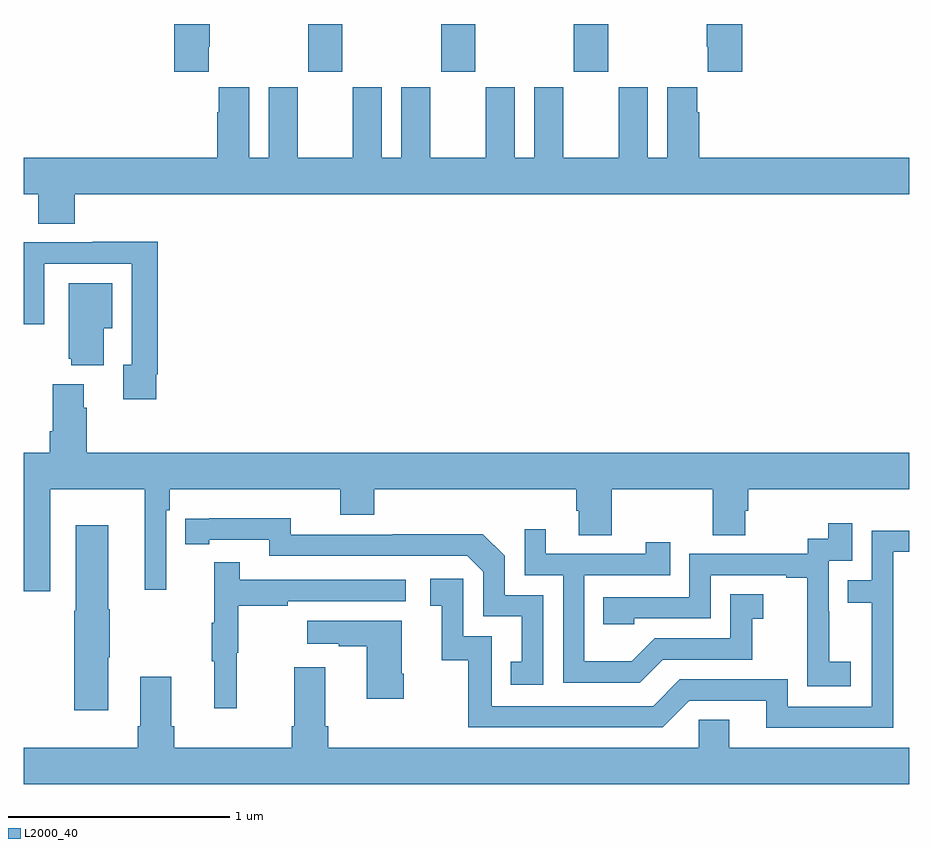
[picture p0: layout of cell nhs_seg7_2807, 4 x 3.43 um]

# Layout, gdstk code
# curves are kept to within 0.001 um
import gdstk
lib = gdstk.Library(unit=1e-6, precision=1e-09)
def R(c, l, rs):  # rectangles x0, y0, x1, y1
    for r in rs: c.add(gdstk.rectangle(r[:2], r[2:], *l))
def A(c, l, x, y, w, h, nx, ny, dx, dy):  # array of equal rectangles
    R(c, l, [(x+i*dx, y+j*dy, x+i*dx+w, y+j*dy+h) for i in range(nx) for j in range(ny)])
def P(c, l, *ps):  # polygons
    for p in ps: c.add(gdstk.Polygon(p, *l))
L2000_40 = (2000, 40)

nhs_seg7_2807 = lib.new_cell('nhs_seg7_2807')
A(nhs_seg7_2807, L2000_40, 292.285, 1051.785, 0.155, 0.215, 3, 1, 0.6, 0)
P(nhs_seg7_2807, L2000_40, [(294.245,1052),(294.085,1052),(294.085,1051.897),(294.089,1051.897),(294.089,1051.785),(294.245,1051.785)],
  [(291.835,1051.897),(291.84,1051.897),(291.84,1052),(291.68,1052),(291.68,1051.785),(291.835,1051.785)],
  [(291.23,1051.232),(295,1051.232),(295,1051.396),(294.05,1051.396),(294.05,1051.601),(294.043,1051.601),(294.043,1051.714),(293.906,1051.714),(293.906,1051.396),(293.818,1051.396),(293.818,1051.714),(293.687,1051.714),(293.687,1051.396),(293.437,1051.396),(293.437,1051.714),(293.306,1051.714),(293.306,1051.396),(293.218,1051.396),(293.218,1051.714),(293.087,1051.714),(293.087,1051.396),(292.837,1051.396),(292.837,1051.714),(292.706,1051.714),(292.706,1051.396),(292.618,1051.396),(292.618,1051.714),(292.487,1051.714),(292.487,1051.396),(292.237,1051.396),(292.237,1051.714),(292.106,1051.714),(292.106,1051.396),(292.018,1051.396),(292.018,1051.714),(291.881,1051.714),(291.881,1051.601),(291.875,1051.601),(291.875,1051.396),(291,1051.396),(291,1051.232),(291.065,1051.232),(291.065,1051.099),(291.23,1051.099)],
  [(291.598,1050.418),(291.605,1050.418),(291.605,1051.016),(291.313,1051.016),(291.313,1051.014),(291,1051.014),(291,1050.645),(291.093,1050.645),(291.093,1050.918),(291.489,1050.918),(291.489,1050.462),(291.449,1050.462),(291.449,1050.306),(291.598,1050.306)],
  [(291.361,1050.626),(291.4,1050.626),(291.4,1050.829),(291.203,1050.829),(291.203,1050.489),(291.215,1050.489),(291.215,1050.458),(291.361,1050.458)],
  [(291.121,1049.9),(291.548,1049.9),(291.548,1049.445),(291.645,1049.445),(291.645,1049.804),(291.659,1049.804),(291.659,1049.9),(292.43,1049.9),(292.43,1049.783),(292.583,1049.783),(292.583,1049.9),(293.495,1049.9),(293.495,1049.802),(293.507,1049.802),(293.507,1049.692),(293.655,1049.692),(293.655,1049.9),(294.112,1049.9),(294.112,1049.692),(294.259,1049.692),(294.259,1049.802),(294.272,1049.802),(294.272,1049.9),(295,1049.9),(295,1050.064),(291.284,1050.064),(291.284,1050.266),(291.271,1050.266),(291.271,1050.373),(291.131,1050.373),(291.131,1050.16),(291.119,1050.16),(291.119,1050.064),(291,1050.064),(291,1049.439),(291.121,1049.439)],
  [(293.346,1049.421),(293.172,1049.421),(293.172,1049.598),(293.074,1049.696),(292.666,1049.696),(292.666,1049.694),(292.206,1049.694),(292.206,1049.767),(291.73,1049.766),(291.73,1049.65),(291.838,1049.65),(291.838,1049.67),(292.11,1049.67),(292.11,1049.598),(293.004,1049.598),(293.076,1049.526),(293.076,1049.325),(293.249,1049.325),(293.249,1049.121),(293.2,1049.121),(293.2,1049.016),(293.346,1049.016)],
  [(294.736,1049.119),(294.638,1049.119),(294.638,1049.348),(294.636,1049.348),(294.636,1049.577),(294.741,1049.577),(294.741,1049.746),(294.633,1049.746),(294.633,1049.676),(294.54,1049.676),(294.54,1049.607),(294.006,1049.607),(294.006,1049.412),(293.617,1049.412),(293.617,1049.289),(293.757,1049.289),(293.757,1049.316),(294.102,1049.316),(294.102,1049.511),(294.443,1049.511),(294.443,1049.499),(294.539,1049.499),(294.539,1049.215),(294.538,1049.215),(294.538,1049.009),(294.736,1049.009)],
  [(291.382,1049.14),(291.39,1049.14),(291.39,1049.357),(291.382,1049.357),(291.382,1049.737),(291.236,1049.737),(291.236,1049.351),(291.229,1049.351),(291.229,1048.902),(291.382,1048.902)],
  [(293.887,1049.13),(294.291,1049.13),(294.291,1049.315),(294.34,1049.315),(294.34,1049.425),(294.192,1049.425),(294.192,1049.226),(293.85,1049.226),(293.746,1049.122),(293.532,1049.122),(293.532,1049.511),(293.921,1049.511),(293.921,1049.659),(293.81,1049.659),(293.81,1049.607),(293.359,1049.607),(293.359,1049.719),(293.262,1049.719),(293.262,1049.511),(293.436,1049.511),(293.436,1049.025),(293.782,1049.025)],
  [(294.927,1049.616),(295,1049.616),(295,1049.712),(294.831,1049.712),(294.831,1049.487),(294.721,1049.487),(294.721,1049.386),(294.831,1049.386),(294.831,1048.917),(294.45,1048.917),(294.45,1049.04),(293.964,1049.04),(293.844,1048.92),(293.115,1048.92),(293.115,1049.235),(292.986,1049.235),(292.986,1049.494),(292.836,1049.494),(292.836,1049.373),(292.889,1049.373),(292.889,1049.127),(293.007,1049.127),(293.007,1048.824),(293.886,1048.824),(294.006,1048.944),(294.353,1048.944),(294.353,1048.821),(294.927,1048.821)],
  [(291.962,1049.16),(291.97,1049.16),(291.97,1049.374),(292.193,1049.374),(292.193,1049.394),(292.726,1049.394),(292.726,1049.49),(291.977,1049.49),(291.977,1049.569),(291.86,1049.569),(291.86,1049.297),(291.849,1049.297),(291.849,1049.123),(291.86,1049.123),(291.86,1048.911),(291.962,1048.911)],
  [(292.716,1049.065),(292.708,1049.065),(292.708,1049.305),(292.281,1049.305),(292.281,1049.201),(292.424,1049.201),(292.424,1049.191),(292.55,1049.191),(292.55,1048.953),(292.716,1048.953)],
  [(295,1048.732),(294.187,1048.732),(294.187,1048.859),(294.048,1048.859),(294.048,1048.732),(292.376,1048.732),(292.376,1048.828),(292.363,1048.828),(292.363,1049.095),(292.223,1049.095),(292.223,1048.828),(292.211,1048.828),(292.211,1048.732),(291.68,1048.732),(291.68,1048.828),(291.667,1048.828),(291.667,1049.053),(291.527,1049.053),(291.527,1048.828),(291.515,1048.828),(291.515,1048.732),(291,1048.732),(291,1048.568),(295,1048.568)])

lib.write_gds('nhs_seg7_2807.gds')
